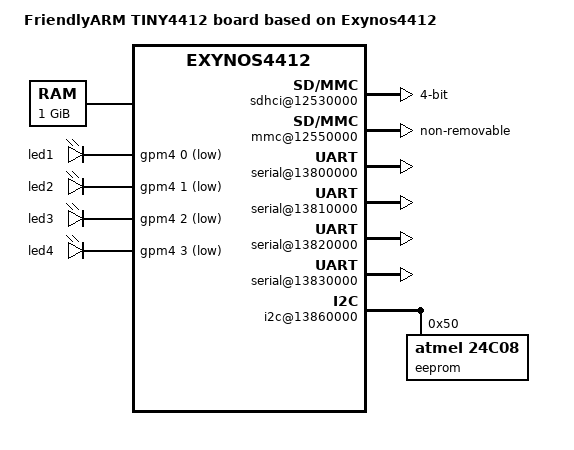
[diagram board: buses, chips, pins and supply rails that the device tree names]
/*
 * FriendlyARM's Exynos4412 based TINY4412 board device tree source
 *
 * Copyright (c) 2013 Alex Ling <kasimling@gmail.com>
 *
 * Device tree source file for FriendlyARM's TINY4412 board which is based on
 * Samsung's Exynos4412 SoC.
 *
 * This program is free software; you can redistribute it and/or modify
 * it under the terms of the GNU General Public License version 2 as
 * published by the Free Software Foundation.
*/

/dts-v1/;
#include "exynos4412.dtsi"

/ {
	model = "FriendlyARM TINY4412 board based on Exynos4412";
	compatible = "friendlyarm,tiny4412", "samsung,exynos4412";

	memory {
		reg = <0x40000000 0x40000000>;
	};

	leds {
		compatible = "gpio-leds";

		led1 {
			label = "led1";
			gpios = <&gpm4 0 1>;
			default-state = "off";
			linux,default-trigger = "heartbeat";
		};

		led2 {
			label = "led2";
			gpios = <&gpm4 1 1>;
			default-state = "off";
		};

		led3 {
			label = "led3";
			gpios = <&gpm4 2 1>;
			default-state = "off";
		};

		led4 {
			label = "led4";
			gpios = <&gpm4 3 1>;
			default-state = "off";
			linux,default-trigger = "mmc0";
		};
	};

	rtc@10070000 {
		status = "okay";
	};

	sdhci@12530000 {
		bus-width = <4>;
		pinctrl-0 = <&sd2_clk &sd2_cmd &sd2_cd &sd2_bus4>;
		pinctrl-names = "default";
		status = "okay";
	};

	mmc@12550000 {
		num-slots = <1>;
		supports-highspeed;
		broken-cd;
		non-removable;
		card-detect-delay = <200>;
		samsung,dw-mshc-ciu-div = <3>;
		samsung,dw-mshc-sdr-timing = <2 3>;
		samsung,dw-mshc-ddr-timing = <1 2>;
		pinctrl-0 = <&sd4_clk &sd4_cmd &sd4_bus4 &sd4_bus8>;
		pinctrl-names = "default";
		status = "okay";

		slot@0 {
			reg = <0>;
			bus-width = <8>;
		};
	};

	serial@13800000 {
		status = "okay";
	};

	serial@13810000 {
		status = "okay";
	};

	serial@13820000 {
		status = "okay";
	};

	serial@13830000 {
		status = "okay";
	};

	fixed-rate-clocks {
		xxti {
			compatible = "samsung,clock-xxti";
			clock-frequency = <0>;
		};

		xusbxti {
			compatible = "samsung,clock-xusbxti";
			clock-frequency = <24000000>;
		};
	};

	i2c@13860000 {
		status = "okay";
		samsung,i2c-sda-delay = <100>;
		samsung,i2c-max-bus-freq = <200000>;

		eeprom@50 {
			compatible = "atmel,24c08";
			reg = <0x50>;
			pagesize = <16>;
		};
	};
};
